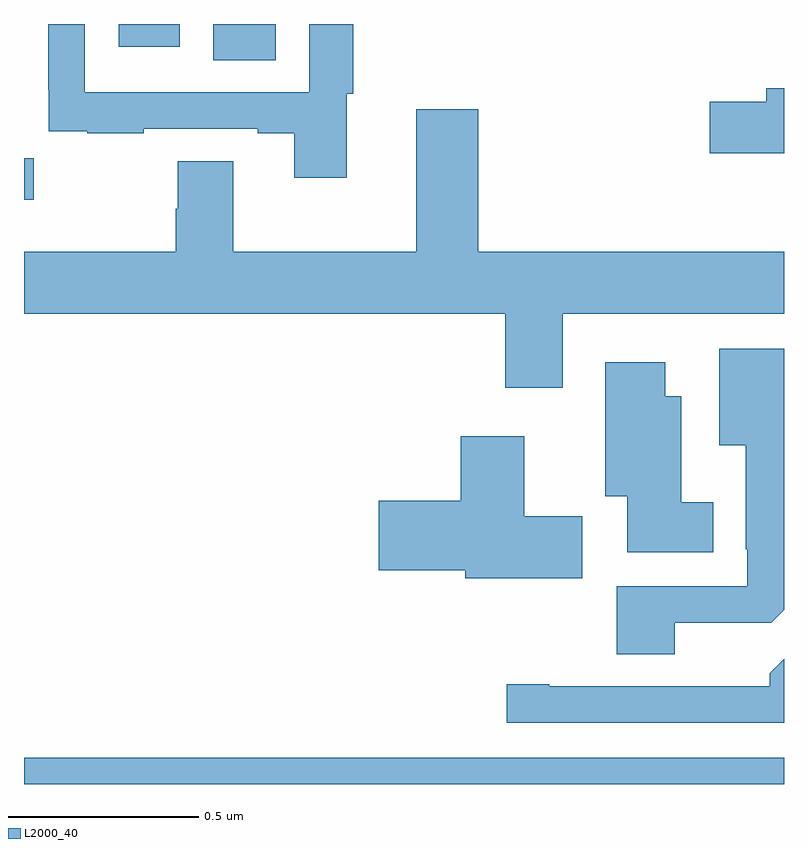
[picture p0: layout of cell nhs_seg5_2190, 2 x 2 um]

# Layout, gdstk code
import gdstk
lib = gdstk.Library(unit=1e-6, precision=1e-09)
def R(c, l, rs):  # rectangles x0, y0, x1, y1
    for r in rs: c.add(gdstk.rectangle(r[:2], r[2:], *l))
def P(c, l, *ps):  # polygons
    for p in ps: c.add(gdstk.Polygon(p, *l))
L2000_40 = (2000, 40)

nhs_seg5_2190 = lib.new_cell('nhs_seg5_2190')
R(nhs_seg5_2190, L2000_40, [(140,912.799,142,912.868), (140,914.336,140.026,914.446), (140.498,914.704,140.662,914.799), (140.249,914.739,140.41,914.799)])
P(nhs_seg5_2190, L2000_40, [(140.849,914.616),(140.867,914.616),(140.867,914.799),(140.751,914.799),(140.751,914.619),(140.16,914.619),(140.16,914.799),(140.064,914.799),(140.064,914.626),(140.065,914.626),(140.065,914.517),(140.167,914.517),(140.167,914.511),(140.315,914.511),(140.315,914.523),(140.615,914.523),(140.615,914.511),(140.711,914.511),(140.711,914.394),(140.849,914.394)],
  [(142,914.63),(141.953,914.63),(141.953,914.594),(141.804,914.594),(141.804,914.459),(142,914.459)],
  [(141.418,914.036),(142,914.036),(142,914.2),(141.196,914.2),(141.196,914.575),(141.032,914.575),(141.032,914.2),(140.551,914.2),(140.551,914.438),(140.404,914.438),(140.404,914.313),(140.399,914.313),(140.399,914.2),(140,914.2),(140,914.036),(141.266,914.036),(141.266,913.842),(141.418,913.842)],
  [(141.712,913.224),(141.966,913.224),(142,913.258),(142,913.945),(141.83,913.945),(141.83,913.691),(141.899,913.691),(141.899,913.417),(141.903,913.417),(141.903,913.32),(141.56,913.32),(141.56,913.141),(141.712,913.141)],
  [(141.814,913.54),(141.73,913.54),(141.73,913.819),(141.688,913.819),(141.688,913.909),(141.53,913.909),(141.53,913.556),(141.587,913.556),(141.587,913.409),(141.814,913.409)],
  [(141.469,913.503),(141.316,913.503),(141.316,913.714),(141.149,913.714),(141.149,913.544),(140.934,913.544),(140.934,913.361),(141.161,913.361),(141.161,913.34),(141.469,913.34)],
  [(142,913.129),(141.962,913.09),(141.962,913.056),(141.382,913.056),(141.382,913.061),(141.27,913.061),(141.27,912.96),(142,912.96)])

lib.write_gds('nhs_seg5_2190.gds')
